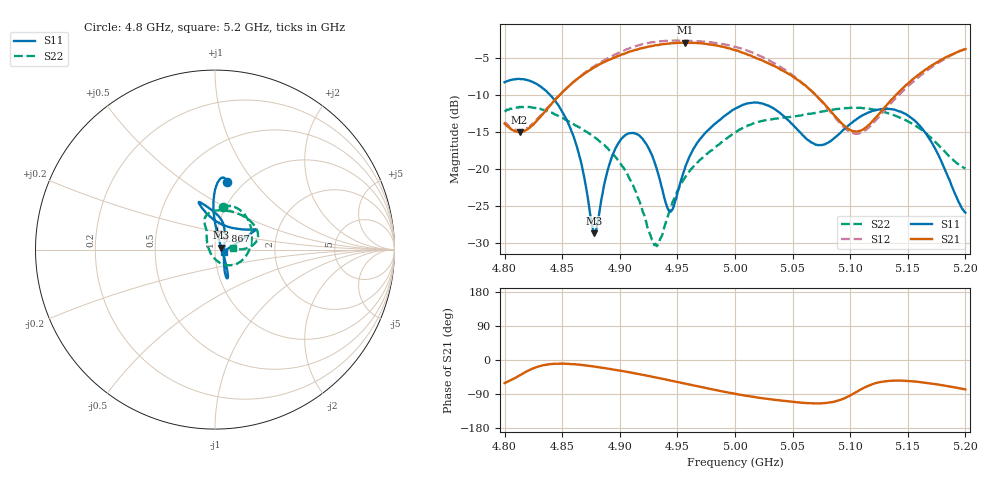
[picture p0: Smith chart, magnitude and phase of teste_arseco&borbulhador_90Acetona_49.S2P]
! Network Analyzer HP8722D
! Hewlett-Packard
! Data name: Linha & Wilkinson
! Saver's name: Rodrigo Anjos
! Comments: Teste da utilização de aquisição
! continua pelo VNA HP8722D
! Time and date: 17/4/2025 11:27
!  Frequency  S11  S21  S12  S22
# HZ  S  MA R 50
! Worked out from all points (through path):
!   401 points, 4.8 GHz to 5.2 GHz, reference 50 ohm
!   highest |S21| = -2.98 dB at 4.957 GHz (marker M1); lowest = -15.1 dB at 4.813 GHz (marker M2)
!   lowest |S11| = -28.7 dB at 4.878 GHz (marker M3), VSWR 1.08, Z = 53.6 + j1.21 ohm
!   |S11| at or under -10 dB: 4.839 GHz to end of sweep
!   |S22| runs from -30.4 to -11.6 dB; largest |S21 - S12| = 1.4
!   S11 on the Smith chart (normalised r, x): 4.8 GHz: 0.84, +0.75; 4.867 GHz: 1.00, +0.21; 5.2 GHz: 1.10, -0.03
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4.8e9  0.3838 79.8  0.2018 -60.9  0.207 74.2  0.2433 78.9
4.813e9  0.4035 83.7  0.1764 -40.8  0.1817 92.7  0.2618 67.3
4.845e9  0.2792 91.6  0.298 -9.7  0.3 123.1  0.2313 28.5
4.858e9  0.1798 91.2  0.3737 -10.5  0.3753 124.1  0.2036 9.4
4.867e9  0.1052 84.6  0.4255 -13.4  0.4283 123.3  0.1862 -4.3
4.878e9  0.03667 17.8  0.4849 -17.4  0.4923 121.2  0.163 -21.0
4.891e9  0.1073 -54.7  0.5437 -23.5  0.5655 117.0  0.133 -39.1
4.904e9  0.1668 -64.6  0.5974 -30.2  0.6291 111.6  0.09958 -57.8
4.92e9  0.1582 -67.7  0.6526 -39.2  0.696 102.9  0.05103 -91.1
4.928e9  0.1233 -64.5  0.6752 -44.2  0.7136 98.1  0.03315 -128.7
4.934e9  0.08841 -55.7  0.6844 -47.8  0.7247 94.1  0.0317 -173.8
4.944e9  0.05128 -0.8  0.7022 -54.2  0.7314 87.7  0.05396 141.9
4.957e9  0.1038 58.1  0.7097 -62.5  0.732 79.4  0.08821 121.9
4.972e9  0.1669 77.0  0.7014 -72.0  0.7216 69.9  0.1191 113.9
5e9  0.2542 103.0  0.6319 -89.3  0.667 51.6  0.1756 109.5
5.03e9  0.2644 108.8  0.5111 -103.2  0.536 35.2  0.2145 92.5
5.067e9  0.15 80.6  0.3324 -114.3  0.331 26.2  0.236 59.6
5.079e9  0.1479 58.7  0.2658 -113.5  0.2625 28.4  0.2463 47.5
5.104e9  0.212 31.7  0.1791 -86.8  0.1727 57.4  0.2579 26.7
5.134e9  0.2533 26.1  0.2817 -55.0  0.2693 91.0  0.2361 11.2
5.165e9  0.1757 21.3  0.4638 -59.8  0.4493 88.0  0.1753 2.3
5.2e9  0.05054 -16.7  0.6417 -77.7  0.6446 71.4  0.1002 4.5
